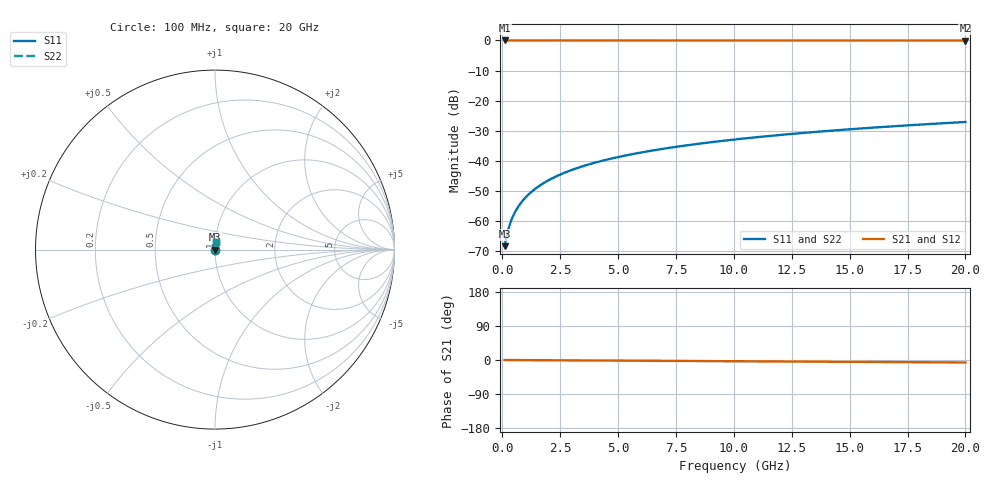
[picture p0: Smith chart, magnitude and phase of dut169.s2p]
! Touchstone file exported from HFSS 2026.1.0
!  File:  C:/ffzhzh/LocalFiles/Ansys_Project_Files/temp_train_TSV_169_1782991057_6248.aedt
!  Generated:  07:19:10 PM Jul  2, 2026
!  Design:  TSV
!  Project:  temp_train_TSV_169_1782991057_6248
! Variables:
!  h_bsmrdl = 2um
!  h_ox = 20um
!  h_rdl = 5um
!  h_sub = 56.68um
!  h_tmrdl = 5um
!  h_tsv = 56.68um
!  h_via = 3um
!  l_bsmrdl = 300um
!  l_sub = 410.34um
!  l_tmrdl = 200um
!  m_sub = 200um
!  pitch = 36.42um
!  r_tsv = 5.17um
!  s_tmrdl = 10um
!  w_bsmrdl = 18um
!  w_sub = 500um
!  w_tmrdl = 12um
!  x_tsv_center1 = 206um
!  x_tsv_center2 = 524um
!  x_tsv_center3 = 736um
!  x_tsv_center4 = 1054um
!  x_tsv_center5 = 1266um
!  x_tsv_center6 = 1584um
# GHz S MA R 50.000000
! Terminal data exported
! Port[1] = TSV1_1_T1
! Port[2] = TSV1_1_T2
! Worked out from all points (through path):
!   200 points, 100 MHz to 20 GHz, reference 50 ohm
!   highest |S21| = 0.00 dB at 100 MHz (marker M1); lowest = 0.0 dB at 20 GHz (marker M2)
!   lowest |S11| = -68.5 dB at 100 MHz (marker M3), VSWR 1.00, Z = 50 + j0.0255 ohm
!   |S11| at or under -10 dB: start of sweep to end of sweep
!   |S22| runs from -68.5 to -27.1 dB; largest |S21 - S12| = 6.4e-15
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0.1  0.0003777 42.5  0.9997 -0.0  0.9997 -0.0  0.0003777 42.5
! Gamma 0 0 0 0
! Port Impedance 50 0 50 0
0.2  0.0005838 60.3  0.9997 -0.1  0.9997 -0.1  0.0005838 60.3
0.3  0.000813 68.1  0.9997 -0.1  0.9997 -0.1  0.000813 68.1
0.4  0.001046 72.2  0.9997 -0.1  0.9997 -0.1  0.001046 72.2
0.5  0.001279 74.8  0.9997 -0.2  0.9997 -0.2  0.001279 74.8
0.6  0.001511 76.5  0.9997 -0.2  0.9997 -0.2  0.001511 76.5
0.8  0.001971 78.9  0.9996 -0.3  0.9996 -0.3  0.001971 78.9
1.1  0.002661 81.0  0.9996 -0.4  0.9996 -0.4  0.002661 81.0
1.5  0.00358 82.5  0.9996 -0.5  0.9996 -0.5  0.00358 82.5
1.8  0.004269 83.2  0.9995 -0.6  0.9995 -0.6  0.004269 83.2
2.1  0.004956 83.6  0.9995 -0.7  0.9995 -0.7  0.004956 83.6
2.7  0.006325 84.2  0.9994 -0.9  0.9994 -0.9  0.006325 84.2
3.5  0.008133 84.4  0.9993 -1.2  0.9993 -1.2  0.008133 84.4
4.2  0.0097 84.5  0.9993 -1.4  0.9993 -1.4  0.0097 84.5
5  0.01148 84.5  0.9992 -1.6  0.9992 -1.6  0.01148 84.5
5.9  0.01346 84.5  0.9991 -1.9  0.9991 -1.9  0.01346 84.5
6.8  0.01544 84.4  0.999 -2.2  0.999 -2.2  0.01544 84.4
8.3  0.01872 84.2  0.9988 -2.7  0.9988 -2.7  0.01872 84.2
10.1  0.02264 83.9  0.9986 -3.3  0.9986 -3.3  0.02264 83.9
13.4  0.0298 83.2  0.9983 -4.4  0.9983 -4.4  0.0298 83.2
16.7  0.03692 82.4  0.9979 -5.4  0.9979 -5.4  0.03692 82.4
20  0.04401 81.5  0.9975 -6.5  0.9975 -6.5  0.04401 81.5
